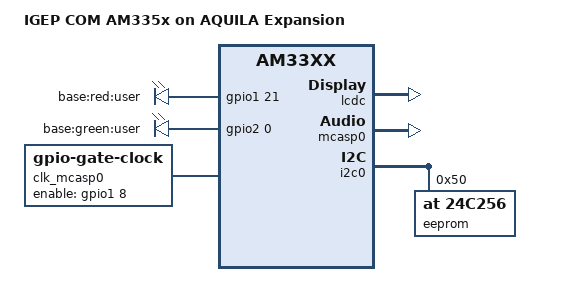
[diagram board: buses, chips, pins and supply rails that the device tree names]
/*
 * am335x-base0033.dts - Device Tree file for IGEP AQUILA EXPANSION
 *
 * Copyright (C) 2013 ISEE 2007 SL - http://www.isee.biz
 *
 * This program is free software; you can redistribute it and/or modify
 * it under the terms of the GNU General Public License version 2 as
 * published by the Free Software Foundation.
 */

#include "am335x-igep0033.dtsi"

/ {
	model = "IGEP COM AM335x on AQUILA Expansion";
	compatible = "isee,am335x-base0033", "isee,am335x-igep0033", "ti,am33xx";

	hdmi {
		compatible = "ti,tilcdc,slave";
		i2c = <&i2c0>;
		pinctrl-names = "default", "off";
		pinctrl-0 = <&nxp_hdmi_pins>;
		pinctrl-1 = <&nxp_hdmi_off_pins>;
		status = "okay";
	};

	leds_base {
		pinctrl-names = "default";
		pinctrl-0 = <&leds_base_pins>;

		compatible = "gpio-leds";

		led@0 {
			label = "base:red:user";
			gpios = <&gpio1 21 GPIO_ACTIVE_HIGH>;	/* gpio1_21 */
			default-state = "off";
		};

		led@1 {
			label = "base:green:user";
			gpios = <&gpio2 0 GPIO_ACTIVE_HIGH>;	/* gpio2_0 */
			default-state = "off";
		};
	};

	clk_mcasp0_fixed: clk_mcasp0_fixed {
	      #clock-cells = <0>;
	      compatible = "fixed-clock";
	      clock-frequency = <24576000>;
	};

	clk_mcasp0: clk_mcasp0 {
	      #clock-cells = <0>;
	      compatible = "gpio-gate-clock";
	      clocks = <&clk_mcasp0_fixed>;
	      enable-gpios = <&gpio1 8 0>; /* BASE0033 Clk enable on GPIO1_8 */
	};

	hdmi_audio: hdmi_audio@0 {
	       compatible = "linux,hdmi-audio";
	       status = "okay";
	};

	sound {
		compatible = "ti,beaglebone-black-audio";
		ti,model = "ISEE IGEP COM AQUILA AM335x";
		ti,audio-codec = <&hdmi_audio>;
		ti,mcasp-controller = <&mcasp0>;
		ti,audio-routing =
			"HDMI Out",	"TX";
		clocks = <&clk_mcasp0>;
		clock-names = "mclk";
	};
};

&am33xx_pinmux {
	nxp_hdmi_pins: pinmux_nxp_hdmi_pins {
		pinctrl-single,pins = <
			AM33XX_IOPAD(0x9b0, PIN_OUTPUT | MUX_MODE3)	/* xdma_event_intr0.clkout1 */
			AM33XX_IOPAD(0x8a0, PIN_OUTPUT | MUX_MODE0)	/* lcd_data0 */
			AM33XX_IOPAD(0x8a4, PIN_OUTPUT | MUX_MODE0)	/* lcd_data1 */
			AM33XX_IOPAD(0x8a8, PIN_OUTPUT | MUX_MODE0)	/* lcd_data2 */
			AM33XX_IOPAD(0x8ac, PIN_OUTPUT | MUX_MODE0)	/* lcd_data3 */
			AM33XX_IOPAD(0x8b0, PIN_OUTPUT | MUX_MODE0)	/* lcd_data4 */
			AM33XX_IOPAD(0x8b4, PIN_OUTPUT | MUX_MODE0)	/* lcd_data5 */
			AM33XX_IOPAD(0x8b8, PIN_OUTPUT | MUX_MODE0)	/* lcd_data6 */
			AM33XX_IOPAD(0x8bc, PIN_OUTPUT | MUX_MODE0)	/* lcd_data7 */
			AM33XX_IOPAD(0x8c0, PIN_OUTPUT | MUX_MODE0)	/* lcd_data8 */
			AM33XX_IOPAD(0x8c4, PIN_OUTPUT | MUX_MODE0)	/* lcd_data9 */
			AM33XX_IOPAD(0x8c8, PIN_OUTPUT | MUX_MODE0)	/* lcd_data10 */
			AM33XX_IOPAD(0x8cc, PIN_OUTPUT | MUX_MODE0)	/* lcd_data11 */
			AM33XX_IOPAD(0x8d0, PIN_OUTPUT | MUX_MODE0)	/* lcd_data12 */
			AM33XX_IOPAD(0x8d4, PIN_OUTPUT | MUX_MODE0)	/* lcd_data13 */
			AM33XX_IOPAD(0x8d8, PIN_OUTPUT | MUX_MODE0)	/* lcd_data14 */
			AM33XX_IOPAD(0x8dc, PIN_OUTPUT | MUX_MODE0)	/* lcd_data15 */
			AM33XX_IOPAD(0x8e0, PIN_OUTPUT | MUX_MODE0)	/* lcd_vsync */
			AM33XX_IOPAD(0x8e4, PIN_OUTPUT | MUX_MODE0)	/* lcd_hsync */
			AM33XX_IOPAD(0x8e8, PIN_OUTPUT | MUX_MODE0)	/* lcd_pclk */
			AM33XX_IOPAD(0x8ec, PIN_OUTPUT | MUX_MODE0)	/* lcd_ac_bias_en */
		>;
	};
	nxp_hdmi_off_pins: pinmux_nxp_hdmi_off_pins {
		pinctrl-single,pins = <
			AM33XX_IOPAD(0x9b0, PIN_OUTPUT | MUX_MODE3)	/* xdma_event_intr0.clkout1 */
		>;
	};

	mcasp0_pins: pinmux_mcasp0_pins {
		pinctrl-single,pins = <
			AM33XX_IOPAD(0x9AC, PIN_INPUT_PULLUP | MUX_MODE0)	/* mcasp0_ahclkx */
			AM33XX_IOPAD(0x99C, PIN_OUTPUT_PULLDOWN | MUX_MODE2)/* mcasp0_ahclkr.mcasp0_axr2 */
			AM33XX_IOPAD(0x994, PIN_OUTPUT_PULLUP | MUX_MODE0)	/* mcasp0_fsx */
			AM33XX_IOPAD(0x860, PIN_OUTPUT_PULLDOWN | MUX_MODE6)/* gpmc_a8.mcasp0_aclkx */
			AM33XX_IOPAD(0x968, PIN_OUTPUT | MUX_MODE7)			/* uart0_ctsn.gpio1_8 */
		>;
	};

	leds_base_pins: pinmux_leds_base_pins {
		pinctrl-single,pins = <
			AM33XX_IOPAD(0x854, PIN_OUTPUT_PULLDOWN | MUX_MODE7)	/* gpmc_a5.gpio1_21 */
			AM33XX_IOPAD(0x888, PIN_OUTPUT_PULLDOWN | MUX_MODE7)	/* gpmc_csn3.gpio2_0 */
		>;
	};
};

&lcdc {
	status = "okay";
};

&mcasp0	{
	pinctrl-names = "default";
	pinctrl-0 = <&mcasp0_pins>;
	status = "okay";
	op-mode = <0>;	/* MCASP_IIS_MODE */
	tdm-slots = <2>;
	serial-dir = <	/* 0: INACTIVE, 1: TX, 2: RX */
			0 0 1 0
		>;
	tx-num-evt = <1>;
	rx-num-evt = <1>;
};

&i2c0 {
	eeprom: eeprom@50 {
		compatible = "at,24c256";
		reg = <0x50>;
	};
};
